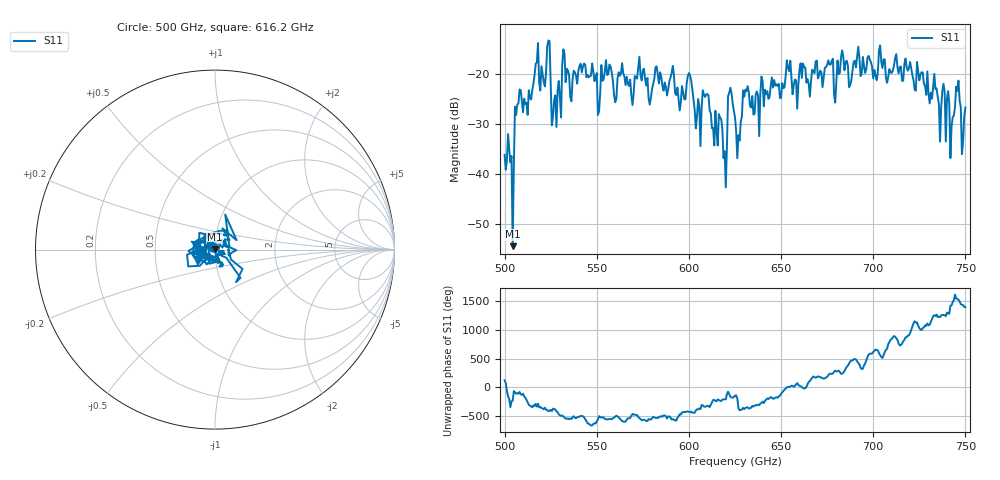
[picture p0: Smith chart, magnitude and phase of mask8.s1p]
!Created with skrf (http://scikit-rf.org).
# GHz S MA R 50.0
!freq magS11 angS11
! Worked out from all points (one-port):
!   401 points, 500 GHz to 750 GHz, reference 50 ohm
!   lowest |S11| = -54.4 dB at 504.4 GHz (marker M1), VSWR 1.00, Z = 49.9 + j0.151 ohm
!   |S11| at or under -10 dB: start of sweep to end of sweep
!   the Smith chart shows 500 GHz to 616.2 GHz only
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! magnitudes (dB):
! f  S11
! 500 GHz  -36.2
! 504.4 GHz  -54.4
! 506.9 GHz  -26.1
! 513.1 GHz  -23.3
! 516.9 GHz  -18.0
! 523.8 GHz  -13.3
! 526.9 GHz  -25.2
! 531.2 GHz  -18.2
! 542.5 GHz  -18.5
! 550.6 GHz  -28.2
! 562.5 GHz  -20.4
! 579.4 GHz  -24.7
! 590.6 GHz  -19.9
! 593.8 GHz  -22.7
! 600.6 GHz  -20.3
! 605 GHz  -25.0
! 609.4 GHz  -24.1
! 619.4 GHz  -35.5
! 622.5 GHz  -22.8
! 625 GHz  -28.7
! 627.5 GHz  -33.3
! 630.6 GHz  -23.1
! 656.2 GHz  -24.1
! 687.5 GHz  -22.2
! 718.8 GHz  -19.4
! 742.5 GHz  -30.5
! 745.6 GHz  -23.4
! 750 GHz  -26.7
